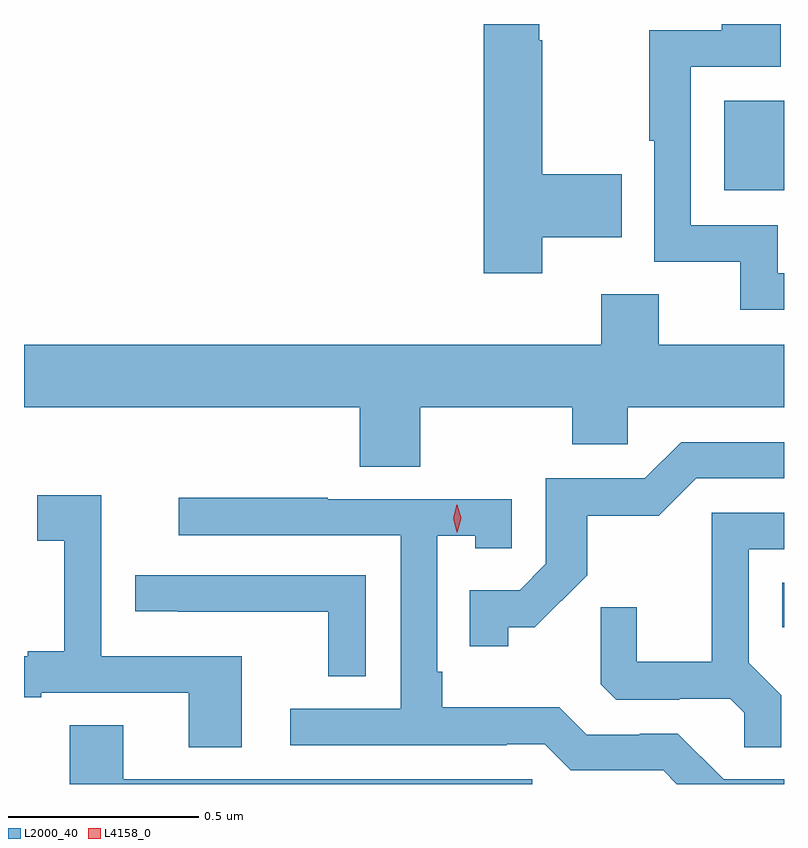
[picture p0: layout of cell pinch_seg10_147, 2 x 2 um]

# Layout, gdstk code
import gdstk
lib = gdstk.Library(unit=1e-6, precision=1e-09)
def R(c, l, rs):  # rectangles x0, y0, x1, y1
    for r in rs: c.add(gdstk.rectangle(r[:2], r[2:], *l))
def P(c, l, *ps):  # polygons
    for p in ps: c.add(gdstk.Polygon(p, *l))
L2000_40 = (2000, 40)
L4158_0 = (4158, 0)

pinch_seg10_147 = lib.new_cell('pinch_seg10_147')
R(pinch_seg10_147, L2000_40, [(691.388,1274.429,691.392,1274.545), (691.235,1275.578,691.392,1275.814)])
P(pinch_seg10_147, L2000_40, [(691.392,1275.36),(691.375,1275.36),(691.375,1275.486),(691.146,1275.486),(691.146,1275.903),(691.384,1275.903),(691.384,1276.016),(691.228,1276.016),(691.228,1275.999),(691.038,1275.999),(691.038,1275.709),(691.05,1275.709),(691.05,1275.39),(691.277,1275.39),(691.277,1275.264),(691.392,1275.264)],
  [(690.756,1275.455),(690.965,1275.455),(690.965,1275.621),(690.756,1275.621),(690.756,1275.973),(690.748,1275.973),(690.748,1276.016),(690.602,1276.016),(690.602,1275.36),(690.756,1275.36)],
  [(690.435,1275.008),(690.835,1275.008),(690.835,1274.91),(690.981,1274.91),(690.981,1275.008),(691.392,1275.008),(691.392,1275.172),(691.063,1275.172),(691.063,1275.305),(690.911,1275.305),(690.911,1275.172),(689.392,1275.172),(689.392,1275.008),(690.275,1275.008),(690.275,1274.851),(690.435,1274.851)],
  [(690.666,1274.429),(690.736,1274.429),(690.874,1274.566),(690.874,1274.722),(691.063,1274.722),(691.161,1274.82),(691.392,1274.82),(691.392,1274.916),(691.122,1274.916),(691.026,1274.82),(690.765,1274.82),(690.765,1274.595),(690.696,1274.526),(690.565,1274.526),(690.565,1274.379),(690.666,1274.379)],
  [(689.965,1274.352),(689.595,1274.352),(689.595,1274.776),(689.427,1274.776),(689.427,1274.656),(689.498,1274.656),(689.498,1274.365),(689.402,1274.365),(689.402,1274.352),(689.392,1274.352),(689.392,1274.244),(689.437,1274.244),(689.437,1274.256),(689.825,1274.256),(689.825,1274.113),(689.965,1274.113)],
  [(691.392,1274.028),(691.233,1274.028),(691.113,1274.148),(691.012,1274.148),(691.012,1274.145),(690.873,1274.145),(690.8,1274.218),(690.493,1274.218),(690.493,1274.311),(690.48,1274.311),(690.48,1274.669),(690.579,1274.669),(690.579,1274.637),(690.675,1274.637),(690.675,1274.766),(690.191,1274.766),(690.191,1274.769),(689.799,1274.769),(689.799,1274.67),(690.384,1274.67),(690.384,1274.214),(690.093,1274.214),(690.093,1274.118),(690.662,1274.118),(690.662,1274.121),(690.762,1274.121),(690.831,1274.052),(691.074,1274.052),(691.11,1274.016),(691.392,1274.016)],
  [(691.385,1274.249),(691.299,1274.335),(691.299,1274.634),(691.392,1274.634),(691.392,1274.73),(691.202,1274.73),(691.202,1274.338),(691.004,1274.338),(691.004,1274.481),(690.91,1274.481),(690.91,1274.279),(690.951,1274.238),(691.116,1274.238),(691.116,1274.241),(691.25,1274.241),(691.287,1274.204),(691.287,1274.113),(691.385,1274.113)],
  [(690.291,1274.565),(689.685,1274.565),(689.685,1274.47),(689.797,1274.47),(689.797,1274.469),(690.193,1274.469),(690.193,1274.299),(690.291,1274.299)],
  [(690.73,1274.028),(689.653,1274.028),(689.653,1274.171),(689.513,1274.171),(689.513,1274.016),(690.73,1274.016)])
P(pinch_seg10_147, L4158_0, [(690.532,1274.678),(690.531,1274.679),(690.522,1274.715),(690.531,1274.751),(690.532,1274.751),(690.532,1274.751),(690.542,1274.715),(690.532,1274.679)])

lib.write_gds('pinch_seg10_147.gds')
